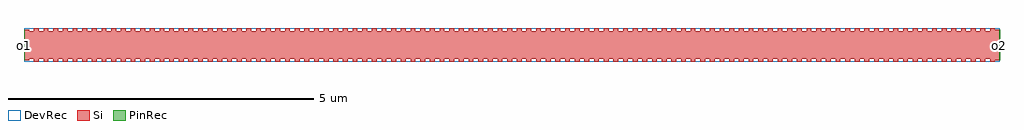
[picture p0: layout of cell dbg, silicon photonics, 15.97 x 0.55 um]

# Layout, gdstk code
from math import pi, radians
import gdstk
lib = gdstk.Library(unit=1e-6, precision=1e-09)
def R(c, l, rs):  # rectangles x0, y0, x1, y1
    for r in rs: c.add(gdstk.rectangle(r[:2], r[2:], *l))
Si = (1, 0)
PinRec = (1, 10)
DevRec = (68, 0)

straight_bab2c480 = lib.new_cell('straight_bab2c480')
R(straight_bab2c480, Si, [(0,-0.225,0.079,0.225)])

straight_81568b40 = lib.new_cell('straight_81568b40')
R(straight_81568b40, Si, [(0,-0.275,0.079,0.275)])

dbr_cell_4f0b84e4 = lib.new_cell('dbr_cell_4f0b84e4')
dbr_cell_4f0b84e4.add(gdstk.Reference(straight_bab2c480, (0,0)))
dbr_cell_4f0b84e4.add(gdstk.Reference(straight_81568b40, (0.079,0)))

dbr_2850dccb = lib.new_cell('dbr_2850dccb')
r = gdstk.Reference(dbr_cell_4f0b84e4, (0,0)); r.repetition = gdstk.Repetition(100, 1, v1=(0.158,0), v2=(0,100)); dbr_2850dccb.add(r)

straight_2d14dd39 = lib.new_cell('straight_2d14dd39')
R(straight_2d14dd39, Si, [(0,-0.25,0.079,0.25)])

dbg = lib.new_cell('dbg')
R(dbg, DevRec, [(-0.079,-0.275,15.879,0.275)])
dbg.add(gdstk.FlexPath([(-0.074,0),(-0.084,0)], 0.5, ends="flush", simple_path=True, layer=1, datatype=10))  # PinRec
dbg.add(gdstk.FlexPath([(15.874,0),(15.884,0)], 0.5, ends="flush", simple_path=True, layer=1, datatype=10))  # PinRec
dbg.add(gdstk.Reference(dbr_2850dccb, (0,0)))
dbg.add(gdstk.Reference(straight_2d14dd39, (-0.079,0)))
dbg.add(gdstk.Reference(straight_2d14dd39, (15.879,0), rotation=pi))
dbg.add(gdstk.Label('o1', (-0.079,0), layer=1, texttype=10))
dbg.add(gdstk.Label('o2', (15.879,0), layer=1, texttype=10))

lib.write_gds('dbg.gds')
